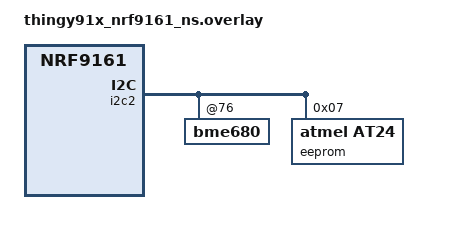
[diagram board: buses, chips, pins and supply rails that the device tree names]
/*
 * Copyright (c) 2023 Nordic Semiconductor ASA
 *
 * SPDX-License-Identifier: LicenseRef-Nordic-5-Clause
 */

/ {
	aliases {
		temp-sensor = &bme680;
		humidity-sensor = &bme680;
		pressure-sensor = &bme680;
	};
};

&i2c2 {
	bme680: bme680@76 {};
	eeprom: at24@7 {
		compatible = "atmel,at24";
		status = "okay";
		size = <256>;
		pagesize = <256>;
		address-width = < 16 >;
		timeout = < 100 >;
		reg = <0x7>;
	};
};
